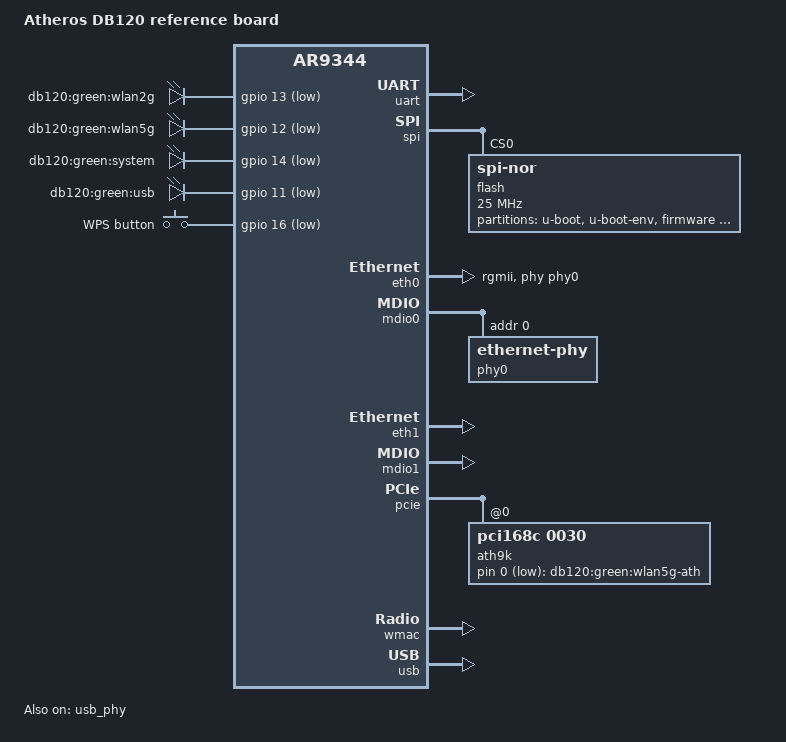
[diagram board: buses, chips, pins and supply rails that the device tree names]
// SPDX-License-Identifier: GPL-2.0-or-later OR MIT
/dts-v1/;

#include <dt-bindings/gpio/gpio.h>
#include <dt-bindings/input/input.h>

#include "ar9344.dtsi"

/ {
	model = "Atheros DB120 reference board";
	compatible = "atheros,db120", "qca,ar9344";

	aliases {
		led-boot = &led_system;
		led-failsafe = &led_system;
		led-running = &led_system;
		led-upgrade = &led_system;
	};

	leds: leds {
		compatible = "gpio-leds";

		wlan2g {
			label = "db120:green:wlan2g";
			gpios = <&gpio 13 GPIO_ACTIVE_LOW>;
			linux,default-trigger = "phy0tpt";
		};

		wlan5g {
			label = "db120:green:wlan5g";
			gpios = <&gpio 12 GPIO_ACTIVE_LOW>;
			linux,default-trigger = "phy1tpt";
		};

		led_system: system {
			label = "db120:green:system";
			gpios = <&gpio 14 GPIO_ACTIVE_LOW>;
			default-state = "on";
		};

		usb {
			label = "db120:green:usb";
			gpios = <&gpio 11 GPIO_ACTIVE_LOW>;
			trigger-sources = <&hub_port1>;
			linux,default-trigger = "usbport";
		};
	};

	leds-ath9k {
		compatible = "gpio-leds";

		wlan5g-ath {
			label = "db120:green:wlan5g-ath";
			gpios = <&ath9k 0 GPIO_ACTIVE_LOW>;
			linux,default-trigger = "phy1tpt";
		};
	};

	keys {
		compatible = "gpio-keys";

		wps {
			linux,code = <KEY_WPS_BUTTON>;
			label = "WPS button";
			gpios = <&gpio 16 GPIO_ACTIVE_LOW>;
			debounce-interval = <60>;
		};
	};
};

&ref {
	clock-frequency = <40000000>;
};

&uart {
	status = "okay";
};

&spi {
	status = "okay";

	num-cs = <1>;

	flash@0 {
		compatible = "jedec,spi-nor";
		reg = <0>;
		spi-max-frequency = <25000000>;

		partitions {
			compatible = "fixed-partitions";
			#address-cells = <1>;
			#size-cells = <1>;

			uboot: partition@0 {
				label = "u-boot";
				reg = <0x000000 0x040000>;
				read-only;
			};

			partition@40000 {
				label = "u-boot-env";
				reg = <0x040000 0x010000>;
			};

			partition@50000 {
				compatible = "denx,uimage";
				label = "firmware";
				reg = <0x050000 0x7a0000>;
			};

			art: partition@7f0000 {
				label = "art";
				reg = <0x7f0000 0x010000>;
				read-only;
			};
		};
	};
};

&eth0 {
	status = "okay";
	pll-data = <0x06000000 0x00000101 0x00001616>;

	mtd-mac-address = <&art 0x0>;

	phy-mode = "rgmii";
	phy-handle = <&phy0>;
};

&mdio0 {
	status = "okay";
	phy-mask = <0>;

	phy0: ethernet-phy@0 {
		reg = <0>;

		qca,ar8327-initvals = <
			0x04 0x07600000 /* PORT0 PAD MODE CTRL */
			0x10 0xc1000000 /* POWER_ON_STRAP */
			0x7c 0x0000007e /* PORT0_STATUS */
			0x94 0x0000007e /* PORT6_STATUS */
			>;
	};
};

&pinmux {
	pmx_led_wan_lan: pinmux_led_wan_lan {
		pinctrl-single,bits = <0x10 0x2c2d0000 0xffff0000>,
			 <0x14 0x292a2b 0xffffff>;
	};
};

&builtin_switch {
	pinctrl-names = "default";
	pinctrl-0 = <&pmx_led_wan_lan>;

	/delete-property/qca,phy4-mii-enable;
};

&eth1 {
	status = "okay";

	mtd-mac-address = <&art 0x6>;

	gmac-config {
		device = <&gmac>;
		switch-phy-swap = <0>;
		switch-only-mode = <1>;
	};
};

&mdio1 {
	status = "okay";
};

&pcie {
	status = "okay";

	ath9k: wifi@0,0 {
		compatible = "pci168c,0030";
		reg = <0x0000 0 0 0 0>;
		qca,no-eeprom;
		qca,disable-2ghz;
		#gpio-cells = <2>;
		gpio-controller;
	};
};

&wmac {
	status = "okay";

	mtd-cal-data = <&art 0x1000>;
};

&usb {
	status = "okay";

	#address-cells = <1>;
	#size-cells = <0>;

	hub_port1: port@1 {
		reg = <1>;
		#trigger-source-cells = <0>;
	};
};

&usb_phy {
	status = "okay";
};

